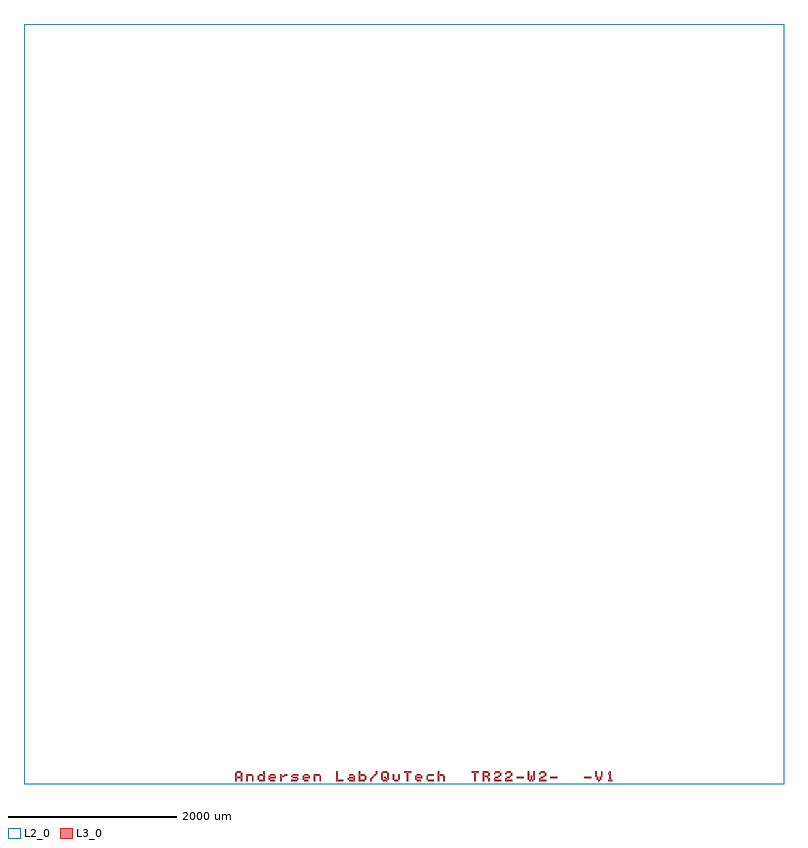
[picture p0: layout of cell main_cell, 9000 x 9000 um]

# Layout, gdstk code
import gdstk
lib = gdstk.Library(unit=1e-6, precision=1e-09)
def R(c, l, rs):  # rectangles x0, y0, x1, y1
    for r in rs: c.add(gdstk.rectangle(r[:2], r[2:], *l))
def P(c, l, *ps):  # polygons
    for p in ps: c.add(gdstk.Polygon(p, *l))
L2_0 = (2, 0)
L3_0 = (3, 0)

main_cell = lib.new_cell('main_cell')
R(main_cell, L2_0, [(-4500,-4500,4500,4500)])
R(main_cell, L3_0, [(1483.333,-4466.667,1500,-4450), (1516.667,-4466.667,1533.333,-4450), (2300,-4466.667,2316.667,-4450), (-1266.667,-4450,-1250,-4433.333), (-666.667,-4450,-650,-4433.333), (-383.333,-4433.333,-366.667,-4416.667), (-233.333,-4433.333,-216.667,-4416.667), (-1333.333,-4416.667,-1316.667,-4400), (-366.667,-4416.667,-350,-4400), (1116.667,-4416.667,1133.333,-4400), (1250,-4416.667,1266.667,-4400), (1650,-4416.667,1666.667,-4400), (-350,-4400,-333.333,-4383.333), (1066.667,-4383.333,1083.333,-4366.667), (1200,-4383.333,1216.667,-4366.667), (1600,-4383.333,1616.667,-4366.667)])
P(main_cell, L3_0, [(-2000,-4466.667),(-2000,-4450),(-2000,-4433.333),(-2000,-4416.667),(-2000,-4400),(-2000,-4383.333),(-2000,-4366.667),(-1983.333,-4366.667),(-1983.333,-4383.333),(-1983.333,-4400),(-1983.333,-4416.667),(-1966.667,-4416.667),(-1950,-4416.667),(-1933.333,-4416.667),(-1933.333,-4400),(-1933.333,-4383.333),(-1933.333,-4366.667),(-1916.667,-4366.667),(-1916.667,-4383.333),(-1916.667,-4400),(-1916.667,-4416.667),(-1916.667,-4433.333),(-1916.667,-4450),(-1916.667,-4466.667),(-1933.333,-4466.667),(-1933.333,-4450),(-1933.333,-4433.333),(-1950,-4433.333),(-1966.667,-4433.333),(-1983.333,-4433.333),(-1983.333,-4450),(-1983.333,-4466.667)],
  [(-1983.333,-4366.667),(-1983.333,-4350),(-1966.667,-4350),(-1950,-4350),(-1933.333,-4350),(-1933.333,-4366.667),(-1950,-4366.667),(-1966.667,-4366.667)],
  [(-1866.667,-4466.667),(-1866.667,-4450),(-1866.667,-4433.333),(-1866.667,-4416.667),(-1866.667,-4400),(-1866.667,-4383.333),(-1850,-4383.333),(-1833.333,-4383.333),(-1816.667,-4383.333),(-1800,-4383.333),(-1800,-4400),(-1816.667,-4400),(-1833.333,-4400),(-1850,-4400),(-1850,-4416.667),(-1850,-4433.333),(-1850,-4450),(-1850,-4466.667)],
  [(-1800,-4466.667),(-1800,-4450),(-1800,-4433.333),(-1800,-4416.667),(-1800,-4400),(-1783.333,-4400),(-1783.333,-4416.667),(-1783.333,-4433.333),(-1783.333,-4450),(-1783.333,-4466.667)],
  [(-1733.333,-4450),(-1733.333,-4433.333),(-1733.333,-4416.667),(-1733.333,-4400),(-1716.667,-4400),(-1716.667,-4416.667),(-1716.667,-4433.333),(-1716.667,-4450)],
  [(-1716.667,-4466.667),(-1716.667,-4450),(-1700,-4450),(-1683.333,-4450),(-1666.667,-4450),(-1666.667,-4433.333),(-1666.667,-4416.667),(-1666.667,-4400),(-1683.333,-4400),(-1700,-4400),(-1716.667,-4400),(-1716.667,-4383.333),(-1700,-4383.333),(-1683.333,-4383.333),(-1666.667,-4383.333),(-1666.667,-4366.667),(-1666.667,-4350),(-1650,-4350),(-1650,-4366.667),(-1650,-4383.333),(-1650,-4400),(-1650,-4416.667),(-1650,-4433.333),(-1650,-4450),(-1650,-4466.667),(-1666.667,-4466.667),(-1683.333,-4466.667),(-1700,-4466.667)],
  [(-1600,-4450),(-1600,-4433.333),(-1600,-4416.667),(-1600,-4400),(-1583.333,-4400),(-1583.333,-4416.667),(-1566.667,-4416.667),(-1550,-4416.667),(-1533.333,-4416.667),(-1533.333,-4400),(-1516.667,-4400),(-1516.667,-4416.667),(-1516.667,-4433.333),(-1533.333,-4433.333),(-1550,-4433.333),(-1566.667,-4433.333),(-1583.333,-4433.333),(-1583.333,-4450)],
  [(-1583.333,-4466.667),(-1583.333,-4450),(-1566.667,-4450),(-1550,-4450),(-1533.333,-4450),(-1533.333,-4466.667),(-1550,-4466.667),(-1566.667,-4466.667)],
  [(-1583.333,-4400),(-1583.333,-4383.333),(-1566.667,-4383.333),(-1550,-4383.333),(-1533.333,-4383.333),(-1533.333,-4400),(-1550,-4400),(-1566.667,-4400)],
  [(-1466.667,-4466.667),(-1466.667,-4450),(-1466.667,-4433.333),(-1466.667,-4416.667),(-1466.667,-4400),(-1466.667,-4383.333),(-1450,-4383.333),(-1450,-4400),(-1433.333,-4400),(-1416.667,-4400),(-1416.667,-4416.667),(-1433.333,-4416.667),(-1450,-4416.667),(-1450,-4433.333),(-1450,-4450),(-1450,-4466.667)],
  [(-1416.667,-4400),(-1416.667,-4383.333),(-1400,-4383.333),(-1383.333,-4383.333),(-1383.333,-4400),(-1400,-4400)],
  [(-1333.333,-4466.667),(-1333.333,-4450),(-1316.667,-4450),(-1300,-4450),(-1283.333,-4450),(-1266.667,-4450),(-1266.667,-4466.667),(-1283.333,-4466.667),(-1300,-4466.667),(-1316.667,-4466.667)],
  [(-1316.667,-4433.333),(-1316.667,-4416.667),(-1300,-4416.667),(-1283.333,-4416.667),(-1266.667,-4416.667),(-1266.667,-4433.333),(-1283.333,-4433.333),(-1300,-4433.333)],
  [(-1316.667,-4400),(-1316.667,-4383.333),(-1300,-4383.333),(-1283.333,-4383.333),(-1266.667,-4383.333),(-1250,-4383.333),(-1250,-4400),(-1266.667,-4400),(-1283.333,-4400),(-1300,-4400)],
  [(-1200,-4450),(-1200,-4433.333),(-1200,-4416.667),(-1200,-4400),(-1183.333,-4400),(-1183.333,-4416.667),(-1166.667,-4416.667),(-1150,-4416.667),(-1133.333,-4416.667),(-1133.333,-4400),(-1116.667,-4400),(-1116.667,-4416.667),(-1116.667,-4433.333),(-1133.333,-4433.333),(-1150,-4433.333),(-1166.667,-4433.333),(-1183.333,-4433.333),(-1183.333,-4450)],
  [(-1183.333,-4466.667),(-1183.333,-4450),(-1166.667,-4450),(-1150,-4450),(-1133.333,-4450),(-1133.333,-4466.667),(-1150,-4466.667),(-1166.667,-4466.667)],
  [(-1183.333,-4400),(-1183.333,-4383.333),(-1166.667,-4383.333),(-1150,-4383.333),(-1133.333,-4383.333),(-1133.333,-4400),(-1150,-4400),(-1166.667,-4400)],
  [(-1066.667,-4466.667),(-1066.667,-4450),(-1066.667,-4433.333),(-1066.667,-4416.667),(-1066.667,-4400),(-1066.667,-4383.333),(-1050,-4383.333),(-1033.333,-4383.333),(-1016.667,-4383.333),(-1000,-4383.333),(-1000,-4400),(-1016.667,-4400),(-1033.333,-4400),(-1050,-4400),(-1050,-4416.667),(-1050,-4433.333),(-1050,-4450),(-1050,-4466.667)],
  [(-1000,-4466.667),(-1000,-4450),(-1000,-4433.333),(-1000,-4416.667),(-1000,-4400),(-983.333,-4400),(-983.333,-4416.667),(-983.333,-4433.333),(-983.333,-4450),(-983.333,-4466.667)],
  [(-800,-4466.667),(-800,-4450),(-800,-4433.333),(-800,-4416.667),(-800,-4400),(-800,-4383.333),(-800,-4366.667),(-800,-4350),(-783.333,-4350),(-783.333,-4366.667),(-783.333,-4383.333),(-783.333,-4400),(-783.333,-4416.667),(-783.333,-4433.333),(-783.333,-4450),(-766.667,-4450),(-750,-4450),(-733.333,-4450),(-716.667,-4450),(-716.667,-4466.667),(-733.333,-4466.667),(-750,-4466.667),(-766.667,-4466.667),(-783.333,-4466.667)],
  [(-650,-4466.667),(-650,-4450),(-633.333,-4450),(-616.667,-4450),(-600,-4450),(-600,-4433.333),(-616.667,-4433.333),(-633.333,-4433.333),(-650,-4433.333),(-650,-4416.667),(-633.333,-4416.667),(-616.667,-4416.667),(-600,-4416.667),(-600,-4400),(-583.333,-4400),(-583.333,-4416.667),(-583.333,-4433.333),(-583.333,-4450),(-583.333,-4466.667),(-600,-4466.667),(-616.667,-4466.667),(-633.333,-4466.667)],
  [(-650,-4400),(-650,-4383.333),(-633.333,-4383.333),(-616.667,-4383.333),(-600,-4383.333),(-600,-4400),(-616.667,-4400),(-633.333,-4400)],
  [(-533.333,-4466.667),(-533.333,-4450),(-533.333,-4433.333),(-533.333,-4416.667),(-533.333,-4400),(-533.333,-4383.333),(-533.333,-4366.667),(-533.333,-4350),(-516.667,-4350),(-516.667,-4366.667),(-516.667,-4383.333),(-500,-4383.333),(-483.333,-4383.333),(-466.667,-4383.333),(-466.667,-4400),(-483.333,-4400),(-500,-4400),(-516.667,-4400),(-516.667,-4416.667),(-516.667,-4433.333),(-516.667,-4450),(-500,-4450),(-483.333,-4450),(-466.667,-4450),(-466.667,-4466.667),(-483.333,-4466.667),(-500,-4466.667),(-516.667,-4466.667)],
  [(-466.667,-4450),(-466.667,-4433.333),(-466.667,-4416.667),(-466.667,-4400),(-450,-4400),(-450,-4416.667),(-450,-4433.333),(-450,-4450)],
  [(-400,-4466.667),(-400,-4450),(-400,-4433.333),(-383.333,-4433.333),(-383.333,-4450),(-383.333,-4466.667)],
  [(-333.333,-4383.333),(-333.333,-4366.667),(-333.333,-4350),(-316.667,-4350),(-316.667,-4366.667),(-316.667,-4383.333)],
  [(-266.667,-4450),(-266.667,-4433.333),(-266.667,-4416.667),(-266.667,-4400),(-266.667,-4383.333),(-266.667,-4366.667),(-250,-4366.667),(-250,-4383.333),(-250,-4400),(-250,-4416.667),(-250,-4433.333),(-250,-4450)],
  [(-250,-4466.667),(-250,-4450),(-233.333,-4450),(-216.667,-4450),(-216.667,-4433.333),(-200,-4433.333),(-200,-4416.667),(-200,-4400),(-200,-4383.333),(-200,-4366.667),(-183.333,-4366.667),(-183.333,-4383.333),(-183.333,-4400),(-183.333,-4416.667),(-183.333,-4433.333),(-183.333,-4450),(-200,-4450),(-200,-4466.667),(-216.667,-4466.667),(-233.333,-4466.667)],
  [(-250,-4366.667),(-250,-4350),(-233.333,-4350),(-216.667,-4350),(-200,-4350),(-200,-4366.667),(-216.667,-4366.667),(-233.333,-4366.667)],
  [(-133.333,-4450),(-133.333,-4433.333),(-133.333,-4416.667),(-133.333,-4400),(-133.333,-4383.333),(-116.667,-4383.333),(-116.667,-4400),(-116.667,-4416.667),(-116.667,-4433.333),(-116.667,-4450)],
  [(-116.667,-4466.667),(-116.667,-4450),(-100,-4450),(-83.333,-4450),(-66.667,-4450),(-66.667,-4466.667),(-83.333,-4466.667),(-100,-4466.667)],
  [(-66.667,-4450),(-66.667,-4433.333),(-66.667,-4416.667),(-66.667,-4400),(-66.667,-4383.333),(-50,-4383.333),(-50,-4400),(-50,-4416.667),(-50,-4433.333),(-50,-4450)],
  [(33.333,-4466.667),(33.333,-4450),(33.333,-4433.333),(33.333,-4416.667),(33.333,-4400),(33.333,-4383.333),(33.333,-4366.667),(16.667,-4366.667),(0,-4366.667),(0,-4350),(16.667,-4350),(33.333,-4350),(50,-4350),(66.667,-4350),(83.333,-4350),(83.333,-4366.667),(66.667,-4366.667),(50,-4366.667),(50,-4383.333),(50,-4400),(50,-4416.667),(50,-4433.333),(50,-4450),(50,-4466.667)],
  [(133.333,-4450),(133.333,-4433.333),(133.333,-4416.667),(133.333,-4400),(150,-4400),(150,-4416.667),(166.667,-4416.667),(183.333,-4416.667),(200,-4416.667),(200,-4400),(216.667,-4400),(216.667,-4416.667),(216.667,-4433.333),(200,-4433.333),(183.333,-4433.333),(166.667,-4433.333),(150,-4433.333),(150,-4450)],
  [(150,-4466.667),(150,-4450),(166.667,-4450),(183.333,-4450),(200,-4450),(200,-4466.667),(183.333,-4466.667),(166.667,-4466.667)],
  [(150,-4400),(150,-4383.333),(166.667,-4383.333),(183.333,-4383.333),(200,-4383.333),(200,-4400),(183.333,-4400),(166.667,-4400)],
  [(266.667,-4450),(266.667,-4433.333),(266.667,-4416.667),(266.667,-4400),(283.333,-4400),(283.333,-4416.667),(283.333,-4433.333),(283.333,-4450)],
  [(283.333,-4466.667),(283.333,-4450),(300,-4450),(316.667,-4450),(333.333,-4450),(350,-4450),(350,-4466.667),(333.333,-4466.667),(316.667,-4466.667),(300,-4466.667)],
  [(283.333,-4400),(283.333,-4383.333),(300,-4383.333),(316.667,-4383.333),(333.333,-4383.333),(350,-4383.333),(350,-4400),(333.333,-4400),(316.667,-4400),(300,-4400)],
  [(400,-4466.667),(400,-4450),(400,-4433.333),(400,-4416.667),(400,-4400),(400,-4383.333),(400,-4366.667),(400,-4350),(416.667,-4350),(416.667,-4366.667),(416.667,-4383.333),(433.333,-4383.333),(450,-4383.333),(466.667,-4383.333),(466.667,-4400),(450,-4400),(433.333,-4400),(416.667,-4400),(416.667,-4416.667),(416.667,-4433.333),(416.667,-4450),(416.667,-4466.667)],
  [(466.667,-4466.667),(466.667,-4450),(466.667,-4433.333),(466.667,-4416.667),(466.667,-4400),(483.333,-4400),(483.333,-4416.667),(483.333,-4433.333),(483.333,-4450),(483.333,-4466.667)],
  [(833.333,-4466.667),(833.333,-4450),(833.333,-4433.333),(833.333,-4416.667),(833.333,-4400),(833.333,-4383.333),(833.333,-4366.667),(816.667,-4366.667),(800,-4366.667),(800,-4350),(816.667,-4350),(833.333,-4350),(850,-4350),(866.667,-4350),(883.333,-4350),(883.333,-4366.667),(866.667,-4366.667),(850,-4366.667),(850,-4383.333),(850,-4400),(850,-4416.667),(850,-4433.333),(850,-4450),(850,-4466.667)],
  [(933.333,-4466.667),(933.333,-4450),(933.333,-4433.333),(933.333,-4416.667),(933.333,-4400),(933.333,-4383.333),(933.333,-4366.667),(933.333,-4350),(950,-4350),(966.667,-4350),(983.333,-4350),(1000,-4350),(1000,-4366.667),(983.333,-4366.667),(966.667,-4366.667),(950,-4366.667),(950,-4383.333),(950,-4400),(966.667,-4400),(983.333,-4400),(1000,-4400),(1000,-4416.667),(1000,-4433.333),(983.333,-4433.333),(983.333,-4416.667),(966.667,-4416.667),(950,-4416.667),(950,-4433.333),(950,-4450),(950,-4466.667)],
  [(1000,-4466.667),(1000,-4450),(1000,-4433.333),(1016.667,-4433.333),(1016.667,-4450),(1016.667,-4466.667)],
  [(1000,-4400),(1000,-4383.333),(1000,-4366.667),(1016.667,-4366.667),(1016.667,-4383.333),(1016.667,-4400)],
  [(1066.667,-4466.667),(1066.667,-4450),(1066.667,-4433.333),(1083.333,-4433.333),(1083.333,-4450),(1100,-4450),(1116.667,-4450),(1133.333,-4450),(1150,-4450),(1150,-4466.667),(1133.333,-4466.667),(1116.667,-4466.667),(1100,-4466.667),(1083.333,-4466.667)],
  [(1083.333,-4433.333),(1083.333,-4416.667),(1100,-4416.667),(1116.667,-4416.667),(1116.667,-4433.333),(1100,-4433.333)],
  [(1083.333,-4366.667),(1083.333,-4350),(1100,-4350),(1116.667,-4350),(1133.333,-4350),(1133.333,-4366.667),(1116.667,-4366.667),(1100,-4366.667)],
  [(1133.333,-4400),(1133.333,-4383.333),(1133.333,-4366.667),(1150,-4366.667),(1150,-4383.333),(1150,-4400)],
  [(1200,-4466.667),(1200,-4450),(1200,-4433.333),(1216.667,-4433.333),(1216.667,-4450),(1233.333,-4450),(1250,-4450),(1266.667,-4450),(1283.333,-4450),(1283.333,-4466.667),(1266.667,-4466.667),(1250,-4466.667),(1233.333,-4466.667),(1216.667,-4466.667)],
  [(1216.667,-4433.333),(1216.667,-4416.667),(1233.333,-4416.667),(1250,-4416.667),(1250,-4433.333),(1233.333,-4433.333)],
  [(1216.667,-4366.667),(1216.667,-4350),(1233.333,-4350),(1250,-4350),(1266.667,-4350),(1266.667,-4366.667),(1250,-4366.667),(1233.333,-4366.667)],
  [(1266.667,-4400),(1266.667,-4383.333),(1266.667,-4366.667),(1283.333,-4366.667),(1283.333,-4383.333),(1283.333,-4400)],
  [(1333.333,-4433.333),(1333.333,-4416.667),(1350,-4416.667),(1366.667,-4416.667),(1383.333,-4416.667),(1400,-4416.667),(1416.667,-4416.667),(1416.667,-4433.333),(1400,-4433.333),(1383.333,-4433.333),(1366.667,-4433.333),(1350,-4433.333)],
  [(1466.667,-4450),(1466.667,-4433.333),(1466.667,-4416.667),(1466.667,-4400),(1466.667,-4383.333),(1466.667,-4366.667),(1466.667,-4350),(1483.333,-4350),(1483.333,-4366.667),(1483.333,-4383.333),(1483.333,-4400),(1483.333,-4416.667),(1483.333,-4433.333),(1483.333,-4450)],
  [(1500,-4450),(1500,-4433.333),(1500,-4416.667),(1500,-4400),(1516.667,-4400),(1516.667,-4416.667),(1516.667,-4433.333),(1516.667,-4450)],
  [(1533.333,-4450),(1533.333,-4433.333),(1533.333,-4416.667),(1533.333,-4400),(1533.333,-4383.333),(1533.333,-4366.667),(1533.333,-4350),(1550,-4350),(1550,-4366.667),(1550,-4383.333),(1550,-4400),(1550,-4416.667),(1550,-4433.333),(1550,-4450)],
  [(1600,-4466.667),(1600,-4450),(1600,-4433.333),(1616.667,-4433.333),(1616.667,-4450),(1633.333,-4450),(1650,-4450),(1666.667,-4450),(1683.333,-4450),(1683.333,-4466.667),(1666.667,-4466.667),(1650,-4466.667),(1633.333,-4466.667),(1616.667,-4466.667)],
  [(1616.667,-4433.333),(1616.667,-4416.667),(1633.333,-4416.667),(1650,-4416.667),(1650,-4433.333),(1633.333,-4433.333)],
  [(1616.667,-4366.667),(1616.667,-4350),(1633.333,-4350),(1650,-4350),(1666.667,-4350),(1666.667,-4366.667),(1650,-4366.667),(1633.333,-4366.667)],
  [(1666.667,-4400),(1666.667,-4383.333),(1666.667,-4366.667),(1683.333,-4366.667),(1683.333,-4383.333),(1683.333,-4400)],
  [(1733.333,-4433.333),(1733.333,-4416.667),(1750,-4416.667),(1766.667,-4416.667),(1783.333,-4416.667),(1800,-4416.667),(1816.667,-4416.667),(1816.667,-4433.333),(1800,-4433.333),(1783.333,-4433.333),(1766.667,-4433.333),(1750,-4433.333)],
  [(2133.333,-4433.333),(2133.333,-4416.667),(2150,-4416.667),(2166.667,-4416.667),(2183.333,-4416.667),(2200,-4416.667),(2216.667,-4416.667),(2216.667,-4433.333),(2200,-4433.333),(2183.333,-4433.333),(2166.667,-4433.333),(2150,-4433.333)],
  [(2266.667,-4416.667),(2266.667,-4400),(2266.667,-4383.333),(2266.667,-4366.667),(2266.667,-4350),(2283.333,-4350),(2283.333,-4366.667),(2283.333,-4383.333),(2283.333,-4400),(2283.333,-4416.667)],
  [(2283.333,-4450),(2283.333,-4433.333),(2283.333,-4416.667),(2300,-4416.667),(2300,-4433.333),(2300,-4450)],
  [(2316.667,-4450),(2316.667,-4433.333),(2316.667,-4416.667),(2333.333,-4416.667),(2333.333,-4433.333),(2333.333,-4450)],
  [(2333.333,-4416.667),(2333.333,-4400),(2333.333,-4383.333),(2333.333,-4366.667),(2333.333,-4350),(2350,-4350),(2350,-4366.667),(2350,-4383.333),(2350,-4400),(2350,-4416.667)],
  [(2416.667,-4466.667),(2416.667,-4450),(2433.333,-4450),(2433.333,-4433.333),(2433.333,-4416.667),(2433.333,-4400),(2433.333,-4383.333),(2416.667,-4383.333),(2416.667,-4366.667),(2433.333,-4366.667),(2433.333,-4350),(2450,-4350),(2450,-4366.667),(2450,-4383.333),(2450,-4400),(2450,-4416.667),(2450,-4433.333),(2450,-4450),(2466.667,-4450),(2466.667,-4466.667),(2450,-4466.667),(2433.333,-4466.667)])

lib.write_gds('main_cell.gds')
